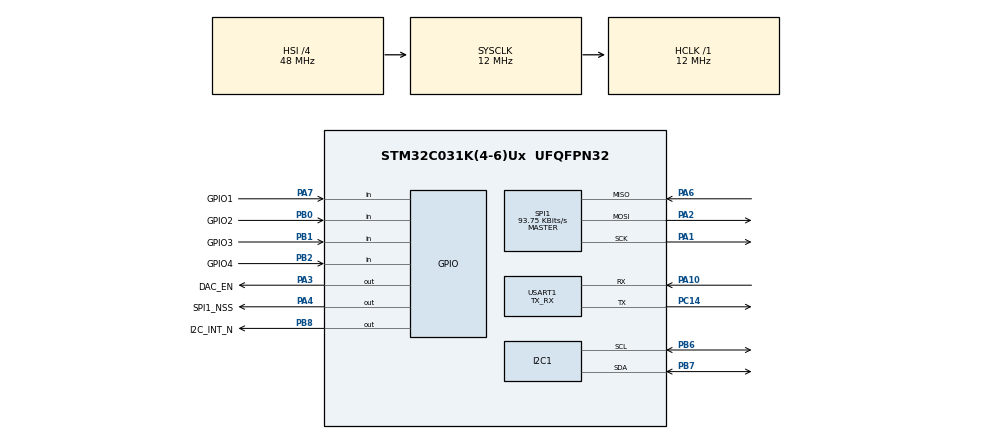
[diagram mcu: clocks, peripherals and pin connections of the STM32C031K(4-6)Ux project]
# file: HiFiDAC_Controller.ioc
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I2C1.I2C_Fall_Time=0
I2C1.I2C_Rise_Time=0
I2C1.OwnAddress=0x1D
I2C1.Timing=0x40000A0B
IWDG.Prescaler=IWDG_PRESCALER_128
Mcu.Family=STM32C0
Mcu.Name=STM32C031K(4-6)Ux
Mcu.Package=UFQFPN32
NVIC.I2C1_IRQn=true\:1\:0\:true\:false\:true\:true\:true\:true
NVIC.USART1_IRQn=true\:3\:0\:true\:false\:true\:true\:true\:true
PA1.Mode=Full_Duplex_Master
PA1.Signal=SPI1_SCK
PA10.Mode=Asynchronous
PA10.Signal=USART1_RX
PA13.Mode=Serial_Wire
PA13.Signal=DEBUG_SWDIO
PA14-BOOT0.Mode=Serial_Wire
PA14-BOOT0.Signal=DEBUG_SWCLK
PA2.Mode=Full_Duplex_Master
PA2.Signal=SPI1_MOSI
PA3.GPIO_Label=DAC_EN
PA3.Signal=GPIO_Output
PA4.GPIO_Label=SPI1_NSS
PA4.PinState=GPIO_PIN_SET
PA4.Signal=GPIO_Output
PA6.Mode=Full_Duplex_Master
PA6.Signal=SPI1_MISO
PA7.GPIO_Label=GPIO1
PA7.Signal=GPIO_Input
PB0.GPIO_Label=GPIO2
PB0.Signal=GPIO_Input
PB1.GPIO_Label=GPIO3
PB1.Signal=GPIO_Input
PB2.GPIO_Label=GPIO4
PB2.GPIO_PuPd=GPIO_PULLDOWN
PB2.Signal=GPIO_Input
PB6.Mode=I2C
PB6.Signal=I2C1_SCL
PB7.Mode=I2C
PB7.Signal=I2C1_SDA
PB8.GPIO_Label=I2C_INT_N
PB8.GPIO_ModeDefaultOutputPP=GPIO_MODE_OUTPUT_OD
PB8.GPIO_PuPd=GPIO_NOPULL
PB8.PinState=GPIO_PIN_SET
PB8.Signal=GPIO_Output
PC14-OSCX_IN\ (PC14).Mode=Asynchronous
PC14-OSCX_IN\ (PC14).Signal=USART1_TX
ProjectManager.HeapSize=0x200
ProjectManager.StackSize=0x400
ProjectManager.TargetToolchain=STM32CubeIDE
RCC.ADCFreq_Value=12000000
RCC.AHBFreq_Value=12000000
RCC.CortexFreq_Value=12000000
RCC.EXTERNAL_CLOCK_VALUE=12288000
RCC.HCLKFreq_Value=12000000
RCC.HSE_VALUE=8000000
RCC.HSI_VALUE=48000000
RCC.LSE_VALUE=32768
RCC.SYSCLKFreq_VALUE=12000000
SPI1.BaudRatePrescaler=SPI_BAUDRATEPRESCALER_128
SPI1.CalculateBaudRate=93.75 KBits/s
SPI1.Direction=SPI_DIRECTION_2LINES
SPI1.Mode=SPI_MODE_MASTER
SPI1.NSSPMode=SPI_NSS_PULSE_DISABLE
SPI1.VirtualType=VM_MASTER
USART1.Mode=MODE_TX_RX
USART1.VirtualMode-Asynchronous=VM_ASYNC
VP_IWDG_VS_IWDG.Mode=IWDG_Activate
board=custom

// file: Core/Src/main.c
/* USER CODE BEGIN Header */
/**
  ******************************************************************************
  * @file           : main.c
  * @brief          : Main program body
  ******************************************************************************
  * @attention
  *
  * Copyright (c) 2024 STMicroelectronics.
  * All rights reserved.
  *
  * This software is licensed under terms that can be found in the LICENSE file
  * in the root directory of this software component.
  * If no LICENSE file comes with this software, it is provided AS-IS.
  *
  ******************************************************************************
  */
/* USER CODE END Header */
#include "main.h"

/* USER CODE BEGIN Includes */
#include <stdio.h>
#include "retarget.h"
#include "dac_control.h"
#include "dac_spi.h"
#include "i2c.h"
/* USER CODE END Includes */

I2C_HandleTypeDef hi2c1;

IWDG_HandleTypeDef hiwdg;

SPI_HandleTypeDef hspi1;

UART_HandleTypeDef huart1;

void SystemClock_Config(void);
static void MX_GPIO_Init(void);
static void MX_SPI1_Init(void);
static void MX_I2C1_Init(void);
static void MX_USART1_UART_Init(void);
static void MX_IWDG_Init(void);

/* USER CODE BEGIN 0 */
static __always_inline void _RefreshWatchdogs() {
  HAL_IWDG_Refresh(&hiwdg);
}
/* USER CODE END 0 */

int main(void)
{

  /* MCU Configuration--------------------------------------------------------*/

  /* Reset of all peripherals, Initializes the Flash interface and the Systick. */
  HAL_Init();

  /* Configure the system clock */
  SystemClock_Config();

  /* Initialize all configured peripherals */
  MX_GPIO_Init();
  MX_SPI1_Init();
  MX_I2C1_Init();
  MX_USART1_UART_Init();
  MX_IWDG_Init();
  /* USER CODE BEGIN 2 */

  RetargetInit(&huart1);

  _RefreshWatchdogs();

  DEBUG_PRINTF("Controller init complete\n");

  HAL_GPIO_WritePin(SPI1_NSS_GPIO_Port, SPI1_NSS_Pin, GPIO_PIN_SET);

  HAL_Delay(10);

  _RefreshWatchdogs();

  DEBUG_PRINTF("Enabling DAC...\n");

  HAL_GPIO_WritePin(DAC_EN_GPIO_Port, DAC_EN_Pin, GPIO_PIN_SET);

  HAL_Delay(10);

  _RefreshWatchdogs();

  if (DAC_CheckChipID() == HAL_OK) {
    DEBUG_PRINTF("DAC chip ID correct\n");
  } else {
    DEBUG_PRINTF("*** ERROR: INCORRECT DAC CHIP ID\n");
    HAL_Delay(100);
    Error_Handler();
  }

  HAL_Delay(10);

  _RefreshWatchdogs();

  if (DAC_Init() == HAL_OK) {
    DEBUG_PRINTF("DAC init successful\n");
  } else {
    DEBUG_PRINTF("*** ERROR: DAC INIT FAILED\n");
    HAL_Delay(100);
    Error_Handler();
  }

  HAL_Delay(10);

  _RefreshWatchdogs();

  if (I2C_Init() == HAL_OK) {
    DEBUG_PRINTF("I2C init successful\n");
  } else {
    DEBUG_PRINTF("*** ERROR: I2C INIT FAILED\n");
    HAL_Delay(100);
    Error_Handler();
  }

  if (HAL_GPIO_ReadPin(GPIO1_GPIO_Port, GPIO1_Pin) == GPIO_PIN_SET) {
    DEBUG_PRINTF("Automute initially muted\n");
  } else {
    DEBUG_PRINTF("Automute initially unmuted\n");
  }

  if (HAL_GPIO_ReadPin(GPIO2_GPIO_Port, GPIO2_Pin) == GPIO_PIN_SET) {
    DEBUG_PRINTF("SRC initially locked\n");
  } else {
    DEBUG_PRINTF("SRC initially not locked\n");
  }

  _RefreshWatchdogs();
  /* USER CODE END 2 */

  /* Infinite loop */
  while (1)
  {

    /* USER CODE BEGIN 3 */
    uint32_t iteration_start_tick = HAL_GetTick();

    DAC_LoopUpdate();
    I2C_LoopUpdate();

    _RefreshWatchdogs();
    while((HAL_GetTick() - iteration_start_tick) < MAIN_LOOP_PERIOD_MS); //replaces HAL_Delay() to not wait any unnecessary extra ticks
  }
  /* USER CODE END 3 */
}

void SystemClock_Config(void)
{
  RCC_OscInitTypeDef RCC_OscInitStruct = {0};
  RCC_ClkInitTypeDef RCC_ClkInitStruct = {0};

  /** Initializes the RCC Oscillators according to the specified parameters
  * in the RCC_OscInitTypeDef structure.
  */
  RCC_OscInitStruct.OscillatorType = RCC_OSCILLATORTYPE_HSI|RCC_OSCILLATORTYPE_LSI;
  RCC_OscInitStruct.HSIState = RCC_HSI_ON;
  RCC_OscInitStruct.HSIDiv = RCC_HSI_DIV4;
  RCC_OscInitStruct.HSICalibrationValue = RCC_HSICALIBRATION_DEFAULT;
  RCC_OscInitStruct.LSIState = RCC_LSI_ON;

  if (HAL_RCC_OscConfig(&RCC_OscInitStruct) != HAL_OK)
  {
    Error_Handler();
  }

  /** Initializes the CPU, AHB and APB buses clocks
  */
  RCC_ClkInitStruct.ClockType = RCC_CLOCKTYPE_HCLK|RCC_CLOCKTYPE_SYSCLK
                              |RCC_CLOCKTYPE_PCLK1;
  RCC_ClkInitStruct.SYSCLKSource = RCC_SYSCLKSOURCE_HSI;
  RCC_ClkInitStruct.SYSCLKDivider = RCC_SYSCLK_DIV1;
  RCC_ClkInitStruct.AHBCLKDivider = RCC_HCLK_DIV1;
  RCC_ClkInitStruct.APB1CLKDivider = RCC_APB1_DIV1;

  if (HAL_RCC_ClockConfig(&RCC_ClkInitStruct, FLASH_LATENCY_0) != HAL_OK)
  {
    Error_Handler();
  }
}

static void MX_I2C1_Init(void)
{

  hi2c1.Instance = I2C1;
  hi2c1.Init.Timing = 0x40000A0B;
  hi2c1.Init.OwnAddress1 = 58;
  hi2c1.Init.AddressingMode = I2C_ADDRESSINGMODE_7BIT;
  hi2c1.Init.DualAddressMode = I2C_DUALADDRESS_DISABLE;
  hi2c1.Init.OwnAddress2 = 0;
  hi2c1.Init.OwnAddress2Masks = I2C_OA2_NOMASK;
  hi2c1.Init.GeneralCallMode = I2C_GENERALCALL_DISABLE;
  hi2c1.Init.NoStretchMode = I2C_NOSTRETCH_DISABLE;
  if (HAL_I2C_Init(&hi2c1) != HAL_OK)
  {
    Error_Handler();
  }

  /** Configure Analogue filter
  */
  if (HAL_I2CEx_ConfigAnalogFilter(&hi2c1, I2C_ANALOGFILTER_ENABLE) != HAL_OK)
  {
    Error_Handler();
  }

  /** Configure Digital filter
  */
  if (HAL_I2CEx_ConfigDigitalFilter(&hi2c1, 0) != HAL_OK)
  {
    Error_Handler();
  }

}

static void MX_IWDG_Init(void)
{

  hiwdg.Instance = IWDG;
  hiwdg.Init.Prescaler = IWDG_PRESCALER_128;
  hiwdg.Init.Window = 4095;
  hiwdg.Init.Reload = 4095;
  if (HAL_IWDG_Init(&hiwdg) != HAL_OK)
  {
    Error_Handler();
  }

}

static void MX_SPI1_Init(void)
{

  /* SPI1 parameter configuration*/
  hspi1.Instance = SPI1;
  hspi1.Init.Mode = SPI_MODE_MASTER;
  hspi1.Init.Direction = SPI_DIRECTION_2LINES;
  hspi1.Init.DataSize = SPI_DATASIZE_8BIT;
  hspi1.Init.CLKPolarity = SPI_POLARITY_LOW;
  hspi1.Init.CLKPhase = SPI_PHASE_1EDGE;
  hspi1.Init.NSS = SPI_NSS_SOFT;
  hspi1.Init.BaudRatePrescaler = SPI_BAUDRATEPRESCALER_128;
  hspi1.Init.FirstBit = SPI_FIRSTBIT_MSB;
  hspi1.Init.TIMode = SPI_TIMODE_DISABLE;
  hspi1.Init.CRCCalculation = SPI_CRCCALCULATION_DISABLE;
  hspi1.Init.CRCPolynomial = 7;
  hspi1.Init.CRCLength = SPI_CRC_LENGTH_DATASIZE;
  hspi1.Init.NSSPMode = SPI_NSS_PULSE_DISABLE;
  if (HAL_SPI_Init(&hspi1) != HAL_OK)
  {
    Error_Handler();
  }

}

static void MX_USART1_UART_Init(void)
{

  huart1.Instance = USART1;
  huart1.Init.BaudRate = 115200;
  huart1.Init.WordLength = UART_WORDLENGTH_8B;
  huart1.Init.StopBits = UART_STOPBITS_1;
  huart1.Init.Parity = UART_PARITY_NONE;
  huart1.Init.Mode = UART_MODE_TX_RX;
  huart1.Init.HwFlowCtl = UART_HWCONTROL_NONE;
  huart1.Init.OverSampling = UART_OVERSAMPLING_16;
  huart1.Init.OneBitSampling = UART_ONE_BIT_SAMPLE_DISABLE;
  huart1.Init.ClockPrescaler = UART_PRESCALER_DIV1;
  huart1.AdvancedInit.AdvFeatureInit = UART_ADVFEATURE_NO_INIT;
  if (HAL_UART_Init(&huart1) != HAL_OK)
  {
    Error_Handler();
  }
  if (HAL_UARTEx_SetTxFifoThreshold(&huart1, UART_TXFIFO_THRESHOLD_1_8) != HAL_OK)
  {
    Error_Handler();
  }
  if (HAL_UARTEx_SetRxFifoThreshold(&huart1, UART_RXFIFO_THRESHOLD_1_8) != HAL_OK)
  {
    Error_Handler();
  }
  if (HAL_UARTEx_DisableFifoMode(&huart1) != HAL_OK)
  {
    Error_Handler();
  }

}

static void MX_GPIO_Init(void)
{
  GPIO_InitTypeDef GPIO_InitStruct = {0};

  /* GPIO Ports Clock Enable */
  __HAL_RCC_GPIOC_CLK_ENABLE();
  __HAL_RCC_GPIOA_CLK_ENABLE();
  __HAL_RCC_GPIOB_CLK_ENABLE();

  /*Configure GPIO pin Output Level */
  HAL_GPIO_WritePin(DAC_EN_GPIO_Port, DAC_EN_Pin, GPIO_PIN_RESET);

  /*Configure GPIO pin Output Level */
  HAL_GPIO_WritePin(SPI1_NSS_GPIO_Port, SPI1_NSS_Pin, GPIO_PIN_SET);

  /*Configure GPIO pin Output Level */
  HAL_GPIO_WritePin(I2C_INT_N_GPIO_Port, I2C_INT_N_Pin, GPIO_PIN_SET);

  /*Configure GPIO pins : DAC_EN_Pin SPI1_NSS_Pin */
  GPIO_InitStruct.Pin = DAC_EN_Pin|SPI1_NSS_Pin;
  GPIO_InitStruct.Mode = GPIO_MODE_OUTPUT_PP;
  GPIO_InitStruct.Pull = GPIO_NOPULL;
  GPIO_InitStruct.Speed = GPIO_SPEED_FREQ_LOW;
  HAL_GPIO_Init(GPIOA, &GPIO_InitStruct);

  /*Configure GPIO pin : GPIO1_Pin */
  GPIO_InitStruct.Pin = GPIO1_Pin;
  GPIO_InitStruct.Mode = GPIO_MODE_INPUT;
  GPIO_InitStruct.Pull = GPIO_NOPULL;
  HAL_GPIO_Init(GPIO1_GPIO_Port, &GPIO_InitStruct);

  /*Configure GPIO pins : GPIO2_Pin GPIO3_Pin */
  GPIO_InitStruct.Pin = GPIO2_Pin|GPIO3_Pin;
  GPIO_InitStruct.Mode = GPIO_MODE_INPUT;
  GPIO_InitStruct.Pull = GPIO_NOPULL;
  HAL_GPIO_Init(GPIOB, &GPIO_InitStruct);

  /*Configure GPIO pin : GPIO4_Pin */
  GPIO_InitStruct.Pin = GPIO4_Pin;
  GPIO_InitStruct.Mode = GPIO_MODE_INPUT;
  GPIO_InitStruct.Pull = GPIO_PULLDOWN;
  HAL_GPIO_Init(GPIO4_GPIO_Port, &GPIO_InitStruct);

  /*Configure GPIO pin : I2C_INT_N_Pin */
  GPIO_InitStruct.Pin = I2C_INT_N_Pin;
  GPIO_InitStruct.Mode = GPIO_MODE_OUTPUT_OD;
  GPIO_InitStruct.Pull = GPIO_NOPULL;
  GPIO_InitStruct.Speed = GPIO_SPEED_FREQ_LOW;
  HAL_GPIO_Init(I2C_INT_N_GPIO_Port, &GPIO_InitStruct);

}

void Error_Handler(void)
{
  __disable_irq();
  while (1)
  {
  }
}
